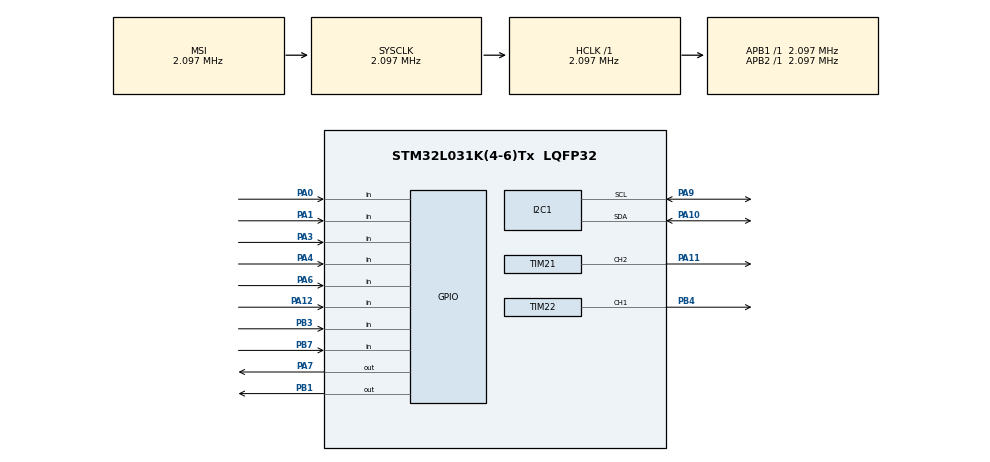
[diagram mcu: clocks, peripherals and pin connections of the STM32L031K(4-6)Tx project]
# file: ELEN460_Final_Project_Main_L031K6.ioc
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Mcu.Family=STM32L0
Mcu.Name=STM32L031K(4-6)Tx
Mcu.Package=LQFP32
PA0-CK_IN.GPIO_PuPd=GPIO_PULLUP
PA0-CK_IN.Signal=GPIO_Input
PA1.GPIO_PuPd=GPIO_PULLUP
PA1.Signal=GPIO_Input
PA10.Mode=I2C
PA10.Signal=I2C1_SDA
PA11.Signal=S_TIM21_CH2
PA12.GPIO_PuPd=GPIO_NOPULL
PA12.Signal=GPIO_Input
PA3.GPIO_PuPd=GPIO_PULLUP
PA3.Signal=GPIO_Input
PA4.GPIO_PuPd=GPIO_PULLUP
PA4.Signal=GPIO_Input
PA6.Signal=GPIO_Input
PA7.GPIO_ModeDefaultOutputPP=GPIO_MODE_OUTPUT_OD
PA7.GPIO_PuPd=GPIO_PULLUP
PA7.PinState=GPIO_PIN_SET
PA7.Signal=GPIO_Output
PA9.Mode=I2C
PA9.Signal=I2C1_SCL
PB1.Signal=GPIO_Output
PB3.GPIO_PuPd=GPIO_PULLUP
PB3.Signal=GPIO_Input
PB4.Signal=S_TIM22_CH1
PB7.Signal=GPIO_Input
ProjectManager.HeapSize=0x200
ProjectManager.StackSize=0x400
ProjectManager.TargetToolchain=EWARM V8.32
RCC.AHBFreq_Value=2097000
RCC.APB1Freq_Value=2097000
RCC.APB1TimFreq_Value=2097000
RCC.APB2Freq_Value=2097000
RCC.APB2TimFreq_Value=2097000
RCC.HSE_VALUE=8000000
RCC.HSI16_VALUE=16000000
RCC.HSI_VALUE=16000000
RCC.LSE_VALUE=32768
RCC.MSI_VALUE=2097000
RCC.SYSCLKFreq_VALUE=2097000
RCC.VCOOutputFreq_Value=48000000
SH.S_TIM21_CH2.0=TIM21_CH2,PWM Generation2 CH2
SH.S_TIM22_CH1.0=TIM22_CH1,PWM Generation1 CH1
TIM21.Channel-PWM\ Generation2\ CH2=TIM_CHANNEL_2
TIM21.Period=20000
TIM22.Channel-PWM\ Generation1\ CH1=TIM_CHANNEL_1
board=custom

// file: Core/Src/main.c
/* USER CODE BEGIN Header */
/**
  ******************************************************************************
  * @file           : main.c
  * @brief          : Main program body
  ******************************************************************************
  * @attention
  *
  * <h2><center>&copy; Copyright (c) 2021 STMicroelectronics.
  * All rights reserved.</center></h2>
  *
  * This software component is licensed by ST under BSD 3-Clause license,
  * the "License"; You may not use this file except in compliance with the
  * License. You may obtain a copy of the License at:
  *                        opensource.org/licenses/BSD-3-Clause
  *
  ******************************************************************************
  */
/* USER CODE END Header */
#include "main.h"

/* USER CODE BEGIN Includes */
#include "KeyboardHoldRepeat.h"
#include <stdlib.h>
#include <string.h>
/* USER CODE END Includes */

/* USER CODE BEGIN PD */
#define COIL_PIN                GPIOB, GPIO_PIN_1
#define COIN_SENSOR_PIN         GPIOB, GPIO_PIN_7
#define MOTOR_AIN1_PIN          GPIOB, GPIO_PIN_5
#define MOTOR_AIN2_PIN          GPIOB, GPIO_PIN_4
#define MOTOR_DIR_PIN           GPIOA, GPIO_PIN_10
#define ALL_BALLS_FIRED_PIN     GPIOA, GPIO_PIN_12
#define WIN_PIN                 GPIOA, GPIO_PIN_6
#define RESET_CTRL_PIN          GPIOA, GPIO_PIN_7

// Game Logic
#define IDLE                    2
#define RUNNING                 3
#define END                     4
#define NUM_OF_SHOTS            10
#define MESSAGE_TIME            5
#define END_TIME                4

// Motor
#define MOTOR_STOP              0
#define MOTOR_RIGHT             1
#define MOTOR_LEFT              2
#define MOTOR_SPEED             20000

// I2C Device Addresses
//#define BOARD_ADDR              0x60
#define DISPLAY_1_ADDR          (0x70 << 1)
#define DISPLAY_2_ADDR          (0x71 << 1)
#define DISPLAY_3_ADDR          (0x72 << 1)
#define DISPLAY_4_ADDR          (0x73 << 1)

// Display system setup
#define DISPLAY_OSC_OFF                 0x20
#define DISPLAY_OSC_ON                  0x21
#define DISPLAY_OFF                     0x80
#define DISPLAY_ON                      0x81
#define DISPLAY_COM0_1                  0x00
#define DISPLAY_COM0_2                  0x01
#define DISPLAY_COM1_1                  0x02
#define DISPLAY_COM1_2                  0x03
#define DISPLAY_COM2_1                  0x04
#define DISPLAY_COM2_2                  0x05
#define DISPLAY_COM3_1                  0x06
#define DISPLAY_COM3_2                  0x07

// Display pins
#define A                        (1 << 0)
#define B                        (1 << 1)
#define C                        (1 << 2)
#define D                        (1 << 3)
#define E                        (1 << 4)
#define F                        (1 << 5)
#define G1                       (1 << 6)
#define G2                       (1 << 7)
#define H                        (1 << 0)
#define J                        (1 << 1)
#define K                        (1 << 2)
#define L                        (1 << 3)
#define M                        (1 << 4)
#define N                        (1 << 5)
#define DP                       (1 << 6)

#define NUMBER_OF_CHAR          16
/* USER CODE END PD */

I2C_HandleTypeDef hi2c1;

TIM_HandleTypeDef htim21;
TIM_HandleTypeDef htim22;

/* USER CODE BEGIN PV */
uint8_t keyCode = NO_KEY_PRESSED;
uint8_t buttonPressed = false;

uint8_t state = IDLE;
uint8_t shots = NUM_OF_SHOTS;
uint8_t timeoutFlag = false;

// Motor
uint8_t motorState = MOTOR_STOP;
uint8_t motorRightRequest = false;
uint8_t motorLeftRequest = false;
uint8_t limitRightSwitch = false;
uint8_t limitLeftSwitch = false;

// Display
uint8_t displayAddr = DISPLAY_1_ADDR;
uint8_t row0_7 = 0;
uint8_t row8_15 = 0;
uint8_t ram[8] = {DISPLAY_COM0_1,DISPLAY_COM0_2,DISPLAY_COM1_1,DISPLAY_COM1_2,DISPLAY_COM2_1,DISPLAY_COM2_2,DISPLAY_COM3_1,DISPLAY_COM3_2};
uint8_t buffer[3];
char arr[16];
char displayString[NUMBER_OF_CHAR];
uint8_t fireRequest = false;
uint8_t fireBusy = false;
uint8_t count = 0;
uint8_t msgTimerCount = 0;
uint8_t msgTimerEn = false;
uint8_t msgTimerFinished = false;
uint8_t endDelayEn = false;
uint8_t endDelayFinished = false;
uint8_t endDelayCount = 0;
char strShots[2];
/* USER CODE END PV */

void SystemClock_Config(void);
static void MX_GPIO_Init(void);
static void MX_I2C1_Init(void);
static void MX_TIM21_Init(void);
static void MX_TIM22_Init(void);
/* USER CODE BEGIN PFP */
void Motor_Set_State(uint8_t state);
void Motor_Set_AIN1(uint16_t duty);
void Motor_Set_AIN2(uint16_t duty);
void Display_Set_Char(uint8_t *first, uint8_t *second, char character);
void Display_Set(char *arr, uint8_t displayAddr);
void Display_Update_All(char *arr);
void Display_Init(uint8_t addr);
void Display_Shot_Convert(uint8_t shots, char *str);
/* USER CODE END PFP */

/* USER CODE BEGIN 0 */
extern uint8_t ten_mS_Flag;
extern uint8_t twentyfive_mS_Flag;
extern uint8_t hundred_mS_Flag;
extern uint8_t twohundred_fifty_mS_Flag;
extern uint8_t five_hundred_mS_Flag;
extern uint8_t one_S_Flag;
/* USER CODE END 0 */

int main(void)
{

  /* MCU Configuration--------------------------------------------------------*/

  /* Reset of all peripherals, Initializes the Flash interface and the Systick. */
  HAL_Init();

  /* Configure the system clock */
  SystemClock_Config();

  /* Initialize all configured peripherals */
  MX_GPIO_Init();
  MX_I2C1_Init();
  MX_TIM21_Init();
  MX_TIM22_Init();
  /* USER CODE BEGIN 2 */
  HAL_TIM_PWM_Start_IT(&htim21, TIM_CHANNEL_2);
  HAL_TIM_PWM_Start_IT(&htim22, TIM_CHANNEL_1);

    // Initialize displays
  Display_Init(DISPLAY_1_ADDR);
  Display_Init(DISPLAY_2_ADDR);
  Display_Init(DISPLAY_3_ADDR);
  Display_Init(DISPLAY_4_ADDR);

  strcpy(displayString, "Insert Coin");

  Display_Update_All(displayString);

  /* USER CODE END 2 */

  /* Infinite loop */
  /* USER CODE BEGIN WHILE */
  while (1)
  {

    // 100mS Tasks
    if (hundred_mS_Flag) {
      hundred_mS_Flag = false;

      if(fireRequest && !fireBusy && (shots != 0)) {
        fireRequest = false;
        fireBusy = true;
        HAL_GPIO_WritePin(COIL_PIN, GPIO_PIN_SET);
      }
      //else {fireRequest = false;}
      else if(fireBusy) {
        fireBusy = false;
        HAL_GPIO_WritePin(COIL_PIN, GPIO_PIN_RESET);
        shots--;

        // Update shot counter
        Display_Shot_Convert(shots,strShots);
        strcpy(displayString, "Shots left ");
        strcat(displayString,strShots);
        Display_Update_All(displayString);
      }
    }

    // 1 Sec Tasks
    if (one_S_Flag) {
      one_S_Flag = false;
      if(msgTimerEn) {
        msgTimerCount++;
        if(msgTimerCount == MESSAGE_TIME) {
          msgTimerEn = false;
          msgTimerFinished = true;
          msgTimerCount = 0;
        }
      }

      if(endDelayEn) {
        endDelayCount++;
        if(endDelayCount == END_TIME) {
          endDelayEn = false;
          endDelayCount = 0;
          endDelayFinished = true;
        }
      }

    }

    switch(state) {
    case IDLE:
      if(HAL_GPIO_ReadPin(COIN_SENSOR_PIN)) {
        state = RUNNING;

        // Prepare secondary microcontroller
        HAL_GPIO_WritePin(RESET_CTRL_PIN, GPIO_PIN_SET);

        Display_Shot_Convert(NUM_OF_SHOTS, strShots);
        strcpy(displayString, "Shots left ");
        strcat(displayString, strShots);
        Display_Update_All(displayString);
      }
      else {

      }
      break;
    case RUNNING:

      keyCode = ScanKeyboard();
      DebounceKeyCode(keyCode);

      // If we've gotten a valid debounced keyCode, process it
      if (processKeyCode == true) {
        ProcessKeyCode(keyCode);
      }

      // Move to the right if not at the right end
      if(motorRightRequest && !limitRightSwitch) {
        Motor_Set_State(MOTOR_RIGHT);
      }
      // Move to the left if not at the left end
      else if(motorLeftRequest && !limitLeftSwitch) {
        Motor_Set_State(MOTOR_LEFT);
      }
      else {Motor_Set_State(MOTOR_STOP);}

      // If player won before balls used up
      if(!(HAL_GPIO_ReadPin(WIN_PIN))) {
            strcpy(displayString, "Awesome you won");
            Display_Update_All(displayString);
            if(!msgTimerFinished) {msgTimerEn = true;}
            Display_Update_All(displayString);
            if(msgTimerFinished) {
              msgTimerFinished = false;
              state = END;
            }

      }

      // If all balls used up
      if(shots == 0) {
        if(!endDelayFinished) {endDelayEn = true;}
        if(endDelayFinished) {
          if(!(HAL_GPIO_ReadPin(ALL_BALLS_FIRED_PIN))){
            // Check if player won
            if(!(HAL_GPIO_ReadPin(WIN_PIN))) {
              // Player won
              strcpy(displayString, "Awesome you won");
              Display_Update_All(displayString);
              if(!msgTimerFinished) {msgTimerEn = true;}
              Display_Update_All(displayString);
            }
            else {
              // Player lost
              strcpy(displayString, "Nice try        ");
              if(!msgTimerFinished) {msgTimerEn = true;}
              Display_Update_All(displayString);
            }
            if(msgTimerFinished) {
              msgTimerFinished = false;
              endDelayFinished = false;
              state = END;
            }
          }
        }
      }
      break;
    case END:
      shots = NUM_OF_SHOTS;
      motorLeftRequest = false;
      motorRightRequest = false;
      limitLeftSwitch = false;
      limitRightSwitch = false;
      fireRequest = false;
      fireBusy = false;

      // Reset secondary microcontroller
      HAL_GPIO_WritePin(RESET_CTRL_PIN, GPIO_PIN_RESET);

      strcpy(displayString, "Insert Coin     ");
      Display_Update_All(displayString);
      state = IDLE;
      break;

    }
    /* USER CODE END WHILE */

  }
}

void SystemClock_Config(void)
{
  RCC_OscInitTypeDef RCC_OscInitStruct = {0};
  RCC_ClkInitTypeDef RCC_ClkInitStruct = {0};
  RCC_PeriphCLKInitTypeDef PeriphClkInit = {0};

  /** Configure the main internal regulator output voltage
  */
  __HAL_PWR_VOLTAGESCALING_CONFIG(PWR_REGULATOR_VOLTAGE_SCALE1);
  /** Initializes the RCC Oscillators according to the specified parameters
  * in the RCC_OscInitTypeDef structure.
  */
  RCC_OscInitStruct.OscillatorType = RCC_OSCILLATORTYPE_MSI;
  RCC_OscInitStruct.MSIState = RCC_MSI_ON;
  RCC_OscInitStruct.MSICalibrationValue = 0;
  RCC_OscInitStruct.MSIClockRange = RCC_MSIRANGE_5;
  RCC_OscInitStruct.PLL.PLLState = RCC_PLL_NONE;
  if (HAL_RCC_OscConfig(&RCC_OscInitStruct) != HAL_OK)
  {
    Error_Handler();
  }
  /** Initializes the CPU, AHB and APB buses clocks
  */
  RCC_ClkInitStruct.ClockType = RCC_CLOCKTYPE_HCLK|RCC_CLOCKTYPE_SYSCLK
                              |RCC_CLOCKTYPE_PCLK1|RCC_CLOCKTYPE_PCLK2;
  RCC_ClkInitStruct.SYSCLKSource = RCC_SYSCLKSOURCE_MSI;
  RCC_ClkInitStruct.AHBCLKDivider = RCC_SYSCLK_DIV1;
  RCC_ClkInitStruct.APB1CLKDivider = RCC_HCLK_DIV1;
  RCC_ClkInitStruct.APB2CLKDivider = RCC_HCLK_DIV1;

  if (HAL_RCC_ClockConfig(&RCC_ClkInitStruct, FLASH_LATENCY_0) != HAL_OK)
  {
    Error_Handler();
  }
  PeriphClkInit.PeriphClockSelection = RCC_PERIPHCLK_I2C1;
  PeriphClkInit.I2c1ClockSelection = RCC_I2C1CLKSOURCE_PCLK1;
  if (HAL_RCCEx_PeriphCLKConfig(&PeriphClkInit) != HAL_OK)
  {
    Error_Handler();
  }
}

static void MX_I2C1_Init(void)
{

  hi2c1.Instance = I2C1;
  hi2c1.Init.Timing = 0x00000708;
  hi2c1.Init.OwnAddress1 = 0;
  hi2c1.Init.AddressingMode = I2C_ADDRESSINGMODE_7BIT;
  hi2c1.Init.DualAddressMode = I2C_DUALADDRESS_DISABLE;
  hi2c1.Init.OwnAddress2 = 0;
  hi2c1.Init.OwnAddress2Masks = I2C_OA2_NOMASK;
  hi2c1.Init.GeneralCallMode = I2C_GENERALCALL_DISABLE;
  hi2c1.Init.NoStretchMode = I2C_NOSTRETCH_DISABLE;
  if (HAL_I2C_Init(&hi2c1) != HAL_OK)
  {
    Error_Handler();
  }
  /** Configure Analogue filter
  */
  if (HAL_I2CEx_ConfigAnalogFilter(&hi2c1, I2C_ANALOGFILTER_ENABLE) != HAL_OK)
  {
    Error_Handler();
  }
  /** Configure Digital filter
  */
  if (HAL_I2CEx_ConfigDigitalFilter(&hi2c1, 0) != HAL_OK)
  {
    Error_Handler();
  }

}

static void MX_TIM21_Init(void)
{

  TIM_MasterConfigTypeDef sMasterConfig = {0};
  TIM_OC_InitTypeDef sConfigOC = {0};

  htim21.Instance = TIM21;
  htim21.Init.Prescaler = 0;
  htim21.Init.CounterMode = TIM_COUNTERMODE_UP;
  htim21.Init.Period = 20000;
  htim21.Init.ClockDivision = TIM_CLOCKDIVISION_DIV1;
  htim21.Init.AutoReloadPreload = TIM_AUTORELOAD_PRELOAD_DISABLE;
  if (HAL_TIM_PWM_Init(&htim21) != HAL_OK)
  {
    Error_Handler();
  }
  sMasterConfig.MasterOutputTrigger = TIM_TRGO_RESET;
  sMasterConfig.MasterSlaveMode = TIM_MASTERSLAVEMODE_DISABLE;
  if (HAL_TIMEx_MasterConfigSynchronization(&htim21, &sMasterConfig) != HAL_OK)
  {
    Error_Handler();
  }
  sConfigOC.OCMode = TIM_OCMODE_PWM1;
  sConfigOC.Pulse = 0;
  sConfigOC.OCPolarity = TIM_OCPOLARITY_HIGH;
  sConfigOC.OCFastMode = TIM_OCFAST_DISABLE;
  if (HAL_TIM_PWM_ConfigChannel(&htim21, &sConfigOC, TIM_CHANNEL_2) != HAL_OK)
  {
    Error_Handler();
  }
  HAL_TIM_MspPostInit(&htim21);

}

static void MX_TIM22_Init(void)
{

  TIM_MasterConfigTypeDef sMasterConfig = {0};
  TIM_OC_InitTypeDef sConfigOC = {0};

  htim22.Instance = TIM22;
  htim22.Init.Prescaler = 0;
  htim22.Init.CounterMode = TIM_COUNTERMODE_UP;
  htim22.Init.Period = 20000;
  htim22.Init.ClockDivision = TIM_CLOCKDIVISION_DIV1;
  htim22.Init.AutoReloadPreload = TIM_AUTORELOAD_PRELOAD_DISABLE;
  if (HAL_TIM_PWM_Init(&htim22) != HAL_OK)
  {
    Error_Handler();
  }
  sMasterConfig.MasterOutputTrigger = TIM_TRGO_RESET;
  sMasterConfig.MasterSlaveMode = TIM_MASTERSLAVEMODE_DISABLE;
  if (HAL_TIMEx_MasterConfigSynchronization(&htim22, &sMasterConfig) != HAL_OK)
  {
    Error_Handler();
  }
  sConfigOC.OCMode = TIM_OCMODE_PWM1;
  sConfigOC.Pulse = 0;
  sConfigOC.OCPolarity = TIM_OCPOLARITY_HIGH;
  sConfigOC.OCFastMode = TIM_OCFAST_DISABLE;
  if (HAL_TIM_PWM_ConfigChannel(&htim22, &sConfigOC, TIM_CHANNEL_1) != HAL_OK)
  {
    Error_Handler();
  }
  HAL_TIM_MspPostInit(&htim22);

}

static void MX_GPIO_Init(void)
{
  GPIO_InitTypeDef GPIO_InitStruct = {0};

  /* GPIO Ports Clock Enable */
  __HAL_RCC_GPIOA_CLK_ENABLE();
  __HAL_RCC_GPIOB_CLK_ENABLE();

  /*Configure GPIO pin Output Level */
  HAL_GPIO_WritePin(GPIOA, GPIO_PIN_7, GPIO_PIN_SET);

  /*Configure GPIO pin Output Level */
  HAL_GPIO_WritePin(GPIOB, GPIO_PIN_1, GPIO_PIN_RESET);

  /*Configure GPIO pins : PA0 PA1 PA3 PA4 */
  GPIO_InitStruct.Pin = GPIO_PIN_0|GPIO_PIN_1|GPIO_PIN_3|GPIO_PIN_4;
  GPIO_InitStruct.Mode = GPIO_MODE_INPUT;
  GPIO_InitStruct.Pull = GPIO_PULLUP;
  HAL_GPIO_Init(GPIOA, &GPIO_InitStruct);

  /*Configure GPIO pins : PA6 PA12 */
  GPIO_InitStruct.Pin = GPIO_PIN_6|GPIO_PIN_12;
  GPIO_InitStruct.Mode = GPIO_MODE_INPUT;
  GPIO_InitStruct.Pull = GPIO_NOPULL;
  HAL_GPIO_Init(GPIOA, &GPIO_InitStruct);

  /*Configure GPIO pin : PA7 */
  GPIO_InitStruct.Pin = GPIO_PIN_7;
  GPIO_InitStruct.Mode = GPIO_MODE_OUTPUT_OD;
  GPIO_InitStruct.Pull = GPIO_PULLUP;
  GPIO_InitStruct.Speed = GPIO_SPEED_FREQ_LOW;
  HAL_GPIO_Init(GPIOA, &GPIO_InitStruct);

  /*Configure GPIO pin : PB1 */
  GPIO_InitStruct.Pin = GPIO_PIN_1;
  GPIO_InitStruct.Mode = GPIO_MODE_OUTPUT_PP;
  GPIO_InitStruct.Pull = GPIO_NOPULL;
  GPIO_InitStruct.Speed = GPIO_SPEED_FREQ_LOW;
  HAL_GPIO_Init(GPIOB, &GPIO_InitStruct);

  /*Configure GPIO pin : PB3 */
  GPIO_InitStruct.Pin = GPIO_PIN_3;
  GPIO_InitStruct.Mode = GPIO_MODE_INPUT;
  GPIO_InitStruct.Pull = GPIO_PULLUP;
  HAL_GPIO_Init(GPIOB, &GPIO_InitStruct);

  /*Configure GPIO pin : PB7 */
  GPIO_InitStruct.Pin = GPIO_PIN_7;
  GPIO_InitStruct.Mode = GPIO_MODE_INPUT;
  GPIO_InitStruct.Pull = GPIO_NOPULL;
  HAL_GPIO_Init(GPIOB, &GPIO_InitStruct);

}

/* USER CODE BEGIN 4 */
void Motor_Set_State(uint8_t state) {

  switch(state){
  case MOTOR_STOP:
    // Set AIN1 and AIN2 to full duty to brake the motor
    Motor_Set_AIN1(0);
    Motor_Set_AIN2(0);
    break;
  case MOTOR_RIGHT:
    Motor_Set_AIN1(MOTOR_SPEED);
    Motor_Set_AIN2(0);
    break;
  case MOTOR_LEFT:
    Motor_Set_AIN1(0);
    Motor_Set_AIN2(MOTOR_SPEED);
    break;
  }
}

void Motor_Set_AIN1(uint16_t duty) {
  TIM_OC_InitTypeDef sConfigOC = {0};

  sConfigOC.OCMode = TIM_OCMODE_PWM1;
  sConfigOC.Pulse = duty;
  sConfigOC.OCPolarity = TIM_OCPOLARITY_HIGH;
  sConfigOC.OCFastMode = TIM_OCFAST_DISABLE;

  HAL_TIM_PWM_Stop(&htim21, TIM_CHANNEL_2);
  HAL_TIM_PWM_ConfigChannel(&htim21, &sConfigOC, TIM_CHANNEL_2);
  HAL_TIM_PWM_Start(&htim21, TIM_CHANNEL_2);

}

void Motor_Set_AIN2(uint16_t duty) {
  TIM_OC_InitTypeDef sConfigOC = {0};

  sConfigOC.OCMode = TIM_OCMODE_PWM1;
  sConfigOC.Pulse = duty;
  sConfigOC.OCPolarity = TIM_OCPOLARITY_HIGH;
  sConfigOC.OCFastMode = TIM_OCFAST_DISABLE;

  HAL_TIM_PWM_Stop(&htim22, TIM_CHANNEL_1);
  HAL_TIM_PWM_ConfigChannel(&htim22, &sConfigOC, TIM_CHANNEL_1);
  HAL_TIM_PWM_Start(&htim22, TIM_CHANNEL_1);

}

void Display_Set_Char(uint8_t *first, uint8_t *second, char character){

  switch(character){
  case '0':
    *first = A | B | C | D | E | F;
    *second = 0;
    break;
  case '1':
    *first = B | C;
    *second = 0;
    break;
  case '2':
    *first = A | B | D | E | G1 | G2;
    *second = 0;
    break;
  case '3':
    *first = A | B | C | D | G1 | G2;
    *second = 0;
    break;
  case '4':
    *first = B | C | F | G1 | G2;
    *second = 0;
    break;
  case '5':
    *first = A | C | D | F | G1 | G2;
    *second = 0;
    break;
  case '6':
    *first = A | C | D | E | F | G1 | G2;
    *second = 0;
    break;
  case '7':
    *first = A | B | C;
    *second = 0;
    break;
  case '8':
    *first = A | B | C | D | E | F | G1 | G2;
    *second = 0;
    break;
  case '9':
    *first = A | B | C | D | F | G1 | G2;
    *second = 0;
    break;
  case 'a':
  case 'A':
    *first = A | B | C | E | F | G1 | G2;
    *second = 0;
    break;
  case 'b':
  case 'B':
    *first = C | D | E | F | G1 | G2;
    *second = 0;
    break;
  case 'c':
  case 'C':
    *first = A | D | E | F;
    *second = 0;
    break;
  case 'd':
  case 'D':
    *first = A | B | C | D;
    *second = J | M;
    break;
  case 'e':
  case 'E':
    *first = A | D | E | F | G1 | G2;
    *second = 0;
    break;
  case 'f':
  case 'F':
    *first = A | E | F | G1 | G2;
    *second = 0;
    break;
  case 'g':
  case 'G':

    break;
  case 'h':
  case 'H':
    *first = B | C | E | F | G1 | G2;
    *second = 0;
    break;
  case 'i':
  case 'I':
    *first = A | D;
    *second = J | M;
    break;
  case 'j':
  case 'J':
    *first = B | C | D | E;
    *second = 0;
    break;
  case 'k':
  case 'K':
    *first = E | F | G1;
    *second = K | N;
    break;
  case 'l':
  case 'L':
    *first = D | E | F;
    *second = 0;
    break;
  case 'm':
  case 'M':
    *first = B | C | E | F;
    *second = H | K;
    break;
  case 'n':
  case 'N':
    *first = B | C | E | F;
    *second = H | N;
    break;
  case 'o':
  case 'O':
    *first = A | B | C | D | E | F;
    *second = 0;
    break;
  case 'p':
  case 'P':
    *first = A | B | E | F | G1 | G2;
    *second = 0;
    break;
  case 'q':
  case 'Q':

    break;
  case 'r':
  case 'R':
    *first = A | B | E | F | G1 | G2;
    *second = N;
    break;
  case 's':
  case 'S':
    *first = A | C | D | F | G1 | G2;
    *second = 0;
    break;
  case 't':
  case 'T':
    *first = A;
    *second = J | M;
    break;
  case 'u':
  case 'U':
    *first = B | C | D | E | F;
    *second = 0;
    break;
  case 'v':
  case 'V':

    break;
  case 'w':
  case 'W':
    *first = B | C | E | F;
    *second = L | N;
    break;
  case 'x':
  case 'X':

    break;
  case 'y':
  case 'Y':
    *first = B | F | G1 | G2;
    *second = M;
    break;
  case 'z':
  case 'Z':

    break;

  default:
    *first = 0;
    *second = 0;
    break;
  }

}

void Display_Init(uint8_t addr){
  // Start internal clock
  uint8_t buf[2] = {DISPLAY_OSC_ON,0};
  HAL_I2C_Master_Transmit(&hi2c1, addr, buf, 1, HAL_MAX_DELAY);

  // Turn off all LEDs on display 1
  buf[0] = DISPLAY_COM0_1;
  buf[1] = 0;
  HAL_I2C_Master_Transmit(&hi2c1, addr, buf, 2, HAL_MAX_DELAY);
  buf[0] = DISPLAY_COM0_2;
  buf[1] = 0;
  HAL_I2C_Master_Transmit(&hi2c1, addr, buf, 2, HAL_MAX_DELAY);

  // Turn off all LEDs on display 2
  buf[0] = DISPLAY_COM1_1;
  buf[1] = 0;
  HAL_I2C_Master_Transmit(&hi2c1, addr, buf, 2, HAL_MAX_DELAY);
  buf[0] = DISPLAY_COM1_2;
  buf[1] = 0;
  HAL_I2C_Master_Transmit(&hi2c1, addr, buf, 2, HAL_MAX_DELAY);

  // Turn off all LEDs on display 3
  buf[0] = DISPLAY_COM2_1;
  buf[1] = 0;
  HAL_I2C_Master_Transmit(&hi2c1, addr, buf, 2, HAL_MAX_DELAY);
  buf[0] = DISPLAY_COM2_2;
  buf[1] = 0;
  HAL_I2C_Master_Transmit(&hi2c1, addr, buf, 2, HAL_MAX_DELAY);

  // Turn off all LEDs on display 4
  buf[0] = DISPLAY_COM3_1;
  buf[1] = 0;
  HAL_I2C_Master_Transmit(&hi2c1, addr, buf, 2, HAL_MAX_DELAY);
  buf[0] = DISPLAY_COM3_2;
  buf[1] = 0;
  HAL_I2C_Master_Transmit(&hi2c1, addr, buf, 2, HAL_MAX_DELAY);
}

void Display_Set(char *arr, uint8_t displayAddr){
  for(uint8_t i = 0; i < 4; i++){
    Display_Set_Char(&row0_7, &row8_15, *(arr + i));
    // Send first half
    buffer[0] = ram[i*2];
    buffer[1] = row0_7;
    HAL_I2C_Master_Transmit(&hi2c1, displayAddr, buffer, 2, HAL_MAX_DELAY);

    // Send second half
    buffer[0] = ram[(i*2)+1];
    buffer[1] = row8_15;
    HAL_I2C_Master_Transmit(&hi2c1, displayAddr, buffer, 2, HAL_MAX_DELAY);
  }

  // Turn on the display
  buffer[0] = DISPLAY_ON;
  HAL_I2C_Master_Transmit(&hi2c1, displayAddr, buffer, 1, HAL_MAX_DELAY);

}

void Display_Update_All(char *arr) {
  Display_Set(arr, DISPLAY_1_ADDR);
  Display_Set(&arr[4], DISPLAY_2_ADDR);
  Display_Set(&arr[8], DISPLAY_3_ADDR);
  Display_Set(&arr[12], DISPLAY_4_ADDR);
}

void Display_Shot_Convert(uint8_t shots, char *str){

  switch(shots){
  case 0:
    *str = '0';
    *(str+1) = '0';
    break;
  case 1:
    *str = '0';
    *(str+1) = '1';
    break;
  case 2:
    *str = '0';
    *(str+1) = '2';
    break;
  case 3:
    *str = '0';
    *(str+1) = '3';
    break;
  case 4:
    *str = '0';
    *(str+1) = '4';
    break;
  case 5:
    *str = '0';
    *(str+1) = '5';
    break;
  case 6:
    *str = '0';
    *(str+1) = '6';
    break;
  case 7:
    *str = '0';
    *(str+1) = '7';
    break;
  case 8:
    *str = '0';
    *(str+1) = '8';
    break;
  case 9:
    *str = '0';
    *(str+1) = '9';
    break;
  case 10:
    *str = '1';
    *(str+1) = '0';
    break;
  }
}
/* USER CODE END 4 */

void Error_Handler(void)
{
  __disable_irq();
  while (1)
  {
  }
}

/************************ (C) COPYRIGHT STMicroelectronics *****END OF FILE****/
